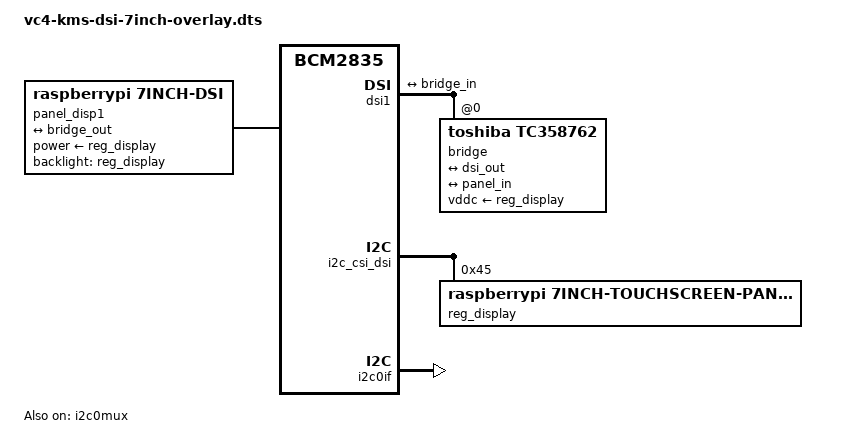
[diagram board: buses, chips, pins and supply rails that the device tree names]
/*
 * Device Tree overlay for RaspberryPi 7" Touchscreen panel
 *
 */

/dts-v1/;
/plugin/;

#include "edt-ft5406.dtsi"

/ {
	compatible = "brcm,bcm2835";

	fragment@0 {
		target = <&dsi1>;
		__overlay__ {
			#address-cells = <1>;
			size-cells = <0>;
			status = "okay";
			port {
				dsi_out: endpoint {
					remote-endpoint = <&bridge_in>;
				};
			};
			bridge@0 {
				reg = <0>;
				compatible = "toshiba,tc358762";
				vddc-supply = <&reg_display>;
				ports {
					#address-cells = <1>;
					#size-cells = <0>;

					port@0 {
						reg = <0>;
						bridge_in: endpoint {
							remote-endpoint = <&dsi_out>;
						};
					};

					port@1 {
						reg = <1>;
						bridge_out: endpoint {
							remote-endpoint = <&panel_in>;
						};
					};
				};
			};
		};
	};

	fragment@1 {
		target-path = "/";
		__overlay__ {
			panel_disp1: panel_disp1@0 {
				reg = <0>;
				compatible = "raspberrypi,7inch-dsi", "simple-panel";
				backlight = <&reg_display>;
				power-supply = <&reg_display>;

				port {
					panel_in: endpoint {
						remote-endpoint = <&bridge_out>;
					};
				};
			};
		};
	};

	fragment@2 {
		target = <&i2c_csi_dsi>;
		__overlay__ {
			#address-cells = <1>;
			#size-cells = <0>;
			status = "okay";

			reg_display: reg_display@45 {
				compatible = "raspberrypi,7inch-touchscreen-panel-regulator";
				reg = <0x45>;
			};
		};
	};

	fragment@3 {
		target = <&i2c0if>;
		__overlay__ {
			status = "okay";
		};
	};

	fragment@4 {
		target = <&i2c0mux>;
		__overlay__ {
			status = "okay";
		};
	};
	fragment@5 {
		target = <&ft5406>;
		__overlay__ {
			vcc-supply = <&reg_display>;
		};
	};
};
